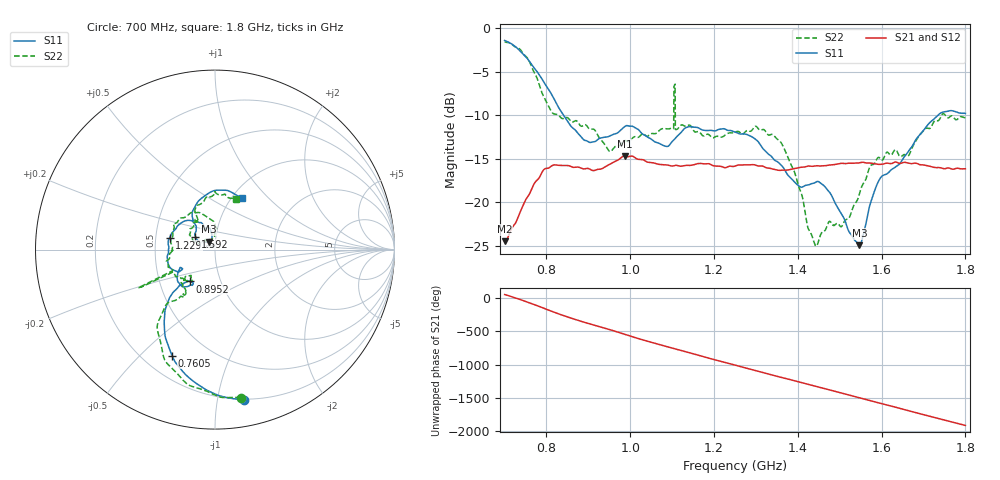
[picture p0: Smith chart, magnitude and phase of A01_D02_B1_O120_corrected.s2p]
! Created with skrf 1.9.0 (http://scikit-rf.org).
# Hz S RI R 50.0
!freq ReS11 ImS11 ReS21 ImS21 ReS12 ImS12 ReS22 ImS22
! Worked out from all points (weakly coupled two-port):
!   1601 points, 700 MHz to 1.8 GHz, reference 50 ohm
!   highest |S21| = -14.66 dB at 986.7 MHz (marker M1); lowest = -24.5 dB at 700 MHz (marker M2)
!   lowest |S11| = -24.9 dB at 1.547 GHz (marker M3), VSWR 1.12, Z = 46.5 + j4.18 ohm
!   |S11| at or under -10 dB: 840.9 MHz to 1.734 GHz (893.1 MHz wide, 69.4 % of centre)
!   |S22| runs from -25.0 to -1.5 dB; largest |S21 - S12| = 0.0035
!   S11 on the Smith chart (normalised r, x): 700 MHz: 0.20, -1.19; 760.5 MHz: 0.31, -0.63; 895.2 MHz: 0.71, -0.27; 1.229 GHz: 0.59, +0.08; 1.592 GHz: 0.80, +0.12; 1.8 GHz: 1.11, +0.71
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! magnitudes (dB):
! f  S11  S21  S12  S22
! 700 MHz  -1.4  -24.5  -24.3  -1.5
! 760.5 MHz  -3.9  -18.9  -18.8  -4.0
! 812.8 MHz  -7.6  -15.8  -15.8  -9.6
! 883.6 MHz  -12.5  -16.1  -16.0  -11.3
! 895.2 MHz  -12.9  -16.1  -16.2  -11.2
! 950.9 MHz  -12.4  -15.6  -15.6  -14.1
! 986.7 MHz  -11.3  -14.7  -14.7  -12.9
! 1.067 GHz  -13.2  -15.6  -15.6  -11.8
! 1.098 GHz  -13.1  -15.8  -15.8  -11.5
! 1.101 GHz  -12.9  -15.8  -15.7  -11.5
! 1.229 GHz  -11.7  -16.0  -15.9  -12.2
! 1.25 GHz  -11.9  -15.8  -15.8  -12.0
! 1.359 GHz  -15.7  -16.3  -16.3  -13.1
! 1.394 GHz  -17.7  -16.1  -16.1  -16.8
! 1.434 GHz  -17.8  -15.9  -15.8  -23.8
! 1.506 GHz  -21.5  -15.5  -15.5  -22.7
! 1.547 GHz  -24.9  -15.5  -15.4  -19.0
! 1.592 GHz  -17.7  -15.6  -15.6  -14.8
! 1.617 GHz  -16.6  -15.5  -15.5  -14.4
! 1.663 GHz  -14.2  -15.5  -15.5  -14.7
! 1.737 GHz  -9.9  -16.0  -16.1  -10.5
! 1.8 GHz  -9.8  -16.1  -16.1  -10.3
